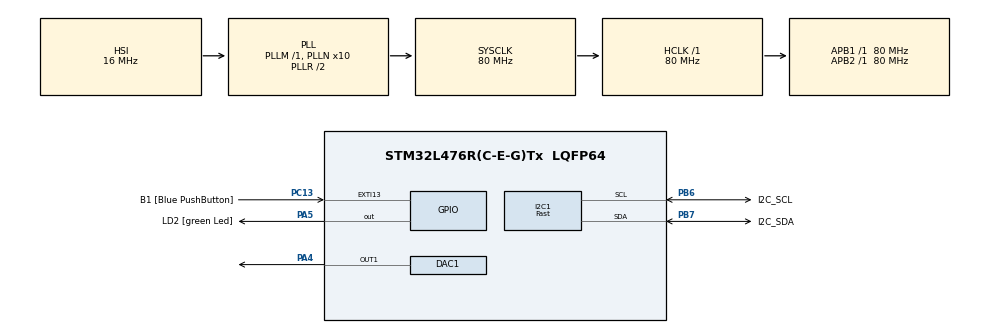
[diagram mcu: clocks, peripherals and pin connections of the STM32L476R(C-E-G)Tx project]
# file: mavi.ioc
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Dma.I2C1_TX.0.Direction=DMA_MEMORY_TO_PERIPH
Dma.I2C1_TX.0.Instance=DMA1_Channel6
Dma.I2C1_TX.0.MemDataAlignment=DMA_MDATAALIGN_BYTE
Dma.I2C1_TX.0.MemInc=DMA_MINC_ENABLE
Dma.I2C1_TX.0.Mode=DMA_NORMAL
Dma.I2C1_TX.0.PeriphDataAlignment=DMA_PDATAALIGN_BYTE
Dma.I2C1_TX.0.PeriphInc=DMA_PINC_DISABLE
Dma.I2C1_TX.0.Priority=DMA_PRIORITY_MEDIUM
Dma.Request0=I2C1_TX
I2C1.I2C_Speed_Mode=I2C_Fast
I2C1.Timing=0x00702991
Mcu.Family=STM32L4
Mcu.Name=STM32L476R(C-E-G)Tx
Mcu.Package=LQFP64
NVIC.DMA1_Channel6_IRQn=true\:0\:0\:false\:false\:true\:false\:true\:true
NVIC.I2C1_EV_IRQn=true\:0\:0\:false\:false\:true\:true\:true\:true
NVIC.PriorityGroup=NVIC_PRIORITYGROUP_4
PA13\ (JTMS-SWDIO).GPIO_Label=TMS
PA13\ (JTMS-SWDIO).Mode=Serial_Wire
PA13\ (JTMS-SWDIO).Signal=SYS_JTMS-SWDIO
PA14\ (JTCK-SWCLK).GPIO_Label=TCK
PA14\ (JTCK-SWCLK).Mode=Serial_Wire
PA14\ (JTCK-SWCLK).Signal=SYS_JTCK-SWCLK
PA2.GPIO_Label=USART_TX
PA2.GPIO_Mode=GPIO_MODE_AF_PP
PA2.GPIO_PuPd=GPIO_NOPULL
PA2.GPIO_Speed=GPIO_SPEED_FREQ_VERY_HIGH
PA2.Signal=USART2_TX
PA3.GPIO_Label=USART_RX
PA3.GPIO_Mode=GPIO_MODE_AF_PP
PA3.GPIO_PuPd=GPIO_NOPULL
PA3.GPIO_Speed=GPIO_SPEED_FREQ_VERY_HIGH
PA3.Signal=USART2_RX
PA4.Signal=COMP_DAC11_group
PA5.GPIO_Label=LD2 [green Led]
PA5.GPIO_ModeDefaultOutputPP=GPIO_MODE_OUTPUT_PP
PA5.GPIO_PuPd=GPIO_NOPULL
PA5.GPIO_Speed=GPIO_SPEED_FREQ_LOW
PA5.Signal=GPIO_Output
PB3\ (JTDO-TRACESWO).GPIO_Label=SWO
PB3\ (JTDO-TRACESWO).Signal=SYS_JTDO-SWO
PB6.GPIO_Label=I2C_SCL
PB6.Mode=I2C
PB6.Signal=I2C1_SCL
PB7.GPIO_FM7=I2C_FASTMODEPLUS_PB7
PB7.GPIO_Label=I2C_SDA
PB7.Mode=I2C
PB7.Signal=I2C1_SDA
PC13.GPIO_Label=B1 [Blue PushButton]
PC13.GPIO_ModeDefaultEXTI=GPIO_MODE_IT_FALLING
PC13.GPIO_PuPd=GPIO_NOPULL
PC13.Signal=GPXTI13
PC14-OSC32_IN\ (PC14).Mode=LSE-External-Oscillator
PC14-OSC32_IN\ (PC14).Signal=RCC_OSC32_IN
PC15-OSC32_OUT\ (PC15).Mode=LSE-External-Oscillator
PC15-OSC32_OUT\ (PC15).Signal=RCC_OSC32_OUT
PH0-OSC_IN\ (PH0).Signal=RCC_OSC_IN
PH1-OSC_OUT\ (PH1).Signal=RCC_OSC_OUT
ProjectManager.HeapSize=0x200
ProjectManager.StackSize=0x400
ProjectManager.TargetToolchain=STM32CubeIDE
RCC.ADCFreq_Value=64000000
RCC.AHBFreq_Value=80000000
RCC.APB1Freq_Value=80000000
RCC.APB1TimFreq_Value=80000000
RCC.APB2Freq_Value=80000000
RCC.APB2TimFreq_Value=80000000
RCC.CortexFreq_Value=80000000
RCC.HCLKFreq_Value=80000000
RCC.HSE_VALUE=8000000
RCC.HSI_VALUE=16000000
RCC.MSI_VALUE=4000000
RCC.PLLN=10
RCC.PLLSourceVirtual=RCC_PLLSOURCE_HSI
RCC.PREFETCH_ENABLE=1
RCC.SYSCLKFreq_VALUE=80000000
RCC.SYSCLKSource=RCC_SYSCLKSOURCE_PLLCLK
RCC.USBFreq_Value=64000000
RCC.VCOOutputFreq_Value=160000000
SH.COMP_DAC11_group.0=DAC1_OUT1,DAC_OUT1
board=NUCLEO-L476RG

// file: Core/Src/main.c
/* USER CODE BEGIN Header */
/**
  ******************************************************************************
  * @file           : main.c
  * @brief          : Main program body
  ******************************************************************************
  * @attention
  *
  * Copyright (c) 2023 STMicroelectronics.
  * All rights reserved.
  *
  * This software is licensed under terms that can be found in the LICENSE file
  * in the root directory of this software component.
  * If no LICENSE file comes with this software, it is provided AS-IS.
  *
  ******************************************************************************
  */
/* USER CODE END Header */
#include "main.h"
#include "dac.h"
#include "dma.h"
#include "i2c.h"
#include "gpio.h"

/* USER CODE BEGIN Includes */
#include "GFX.h"
#include "menu.h"
/* USER CODE END Includes */

void SystemClock_Config(void);

int main(void)
{

  /* MCU Configuration--------------------------------------------------------*/

  /* Reset of all peripherals, Initializes the Flash interface and the Systick. */
  HAL_Init();

  /* Configure the system clock */
  SystemClock_Config();

  /* Initialize all configured peripherals */
  MX_GPIO_Init();
  MX_DMA_Init();
  MX_DAC1_Init();
  MX_I2C1_Init();
  /* USER CODE BEGIN 2 */
  int value_dac;
  HAL_DAC_Start(&hdac1, DAC_CHANNEL_1);
  SSD1306_init();
  // GFX_draw_fill_rect(0, 0, 64, 32, WHITE);
  GFX_draw_char(10, 10, 'A', WHITE, BLACK, 2, 2);
  SSD1306_display_repaint();
 HAL_Delay(2000);

  menu_t menu;
  menu_init(&menu);
  display_menu_items(&menu);

  /* USER CODE END 2 */

  /* Infinite loop */
  /* USER CODE BEGIN WHILE */
  while (1)
  {
	  HAL_DAC_SetValue(&hdac1, DAC_CHANNEL_1, DAC_ALIGN_12B_R, value_dac);
	  if (value_dac<4095){
		  value_dac++;
	  }else{
		  value_dac=0;
	  }
	  HAL_Delay(10);
    /* USER CODE END WHILE */

  }
}

void SystemClock_Config(void)
{
  RCC_OscInitTypeDef RCC_OscInitStruct = {0};
  RCC_ClkInitTypeDef RCC_ClkInitStruct = {0};

  /** Configure the main internal regulator output voltage
  */
  if (HAL_PWREx_ControlVoltageScaling(PWR_REGULATOR_VOLTAGE_SCALE1) != HAL_OK)
  {
    Error_Handler();
  }

  /** Initializes the RCC Oscillators according to the specified parameters
  * in the RCC_OscInitTypeDef structure.
  */
  RCC_OscInitStruct.OscillatorType = RCC_OSCILLATORTYPE_HSI;
  RCC_OscInitStruct.HSIState = RCC_HSI_ON;
  RCC_OscInitStruct.HSICalibrationValue = RCC_HSICALIBRATION_DEFAULT;
  RCC_OscInitStruct.PLL.PLLState = RCC_PLL_ON;
  RCC_OscInitStruct.PLL.PLLSource = RCC_PLLSOURCE_HSI;
  RCC_OscInitStruct.PLL.PLLM = 1;
  RCC_OscInitStruct.PLL.PLLN = 10;
  RCC_OscInitStruct.PLL.PLLP = RCC_PLLP_DIV7;
  RCC_OscInitStruct.PLL.PLLQ = RCC_PLLQ_DIV2;
  RCC_OscInitStruct.PLL.PLLR = RCC_PLLR_DIV2;
  if (HAL_RCC_OscConfig(&RCC_OscInitStruct) != HAL_OK)
  {
    Error_Handler();
  }

  /** Initializes the CPU, AHB and APB buses clocks
  */
  RCC_ClkInitStruct.ClockType = RCC_CLOCKTYPE_HCLK|RCC_CLOCKTYPE_SYSCLK
                              |RCC_CLOCKTYPE_PCLK1|RCC_CLOCKTYPE_PCLK2;
  RCC_ClkInitStruct.SYSCLKSource = RCC_SYSCLKSOURCE_PLLCLK;
  RCC_ClkInitStruct.AHBCLKDivider = RCC_SYSCLK_DIV1;
  RCC_ClkInitStruct.APB1CLKDivider = RCC_HCLK_DIV1;
  RCC_ClkInitStruct.APB2CLKDivider = RCC_HCLK_DIV1;

  if (HAL_RCC_ClockConfig(&RCC_ClkInitStruct, FLASH_LATENCY_4) != HAL_OK)
  {
    Error_Handler();
  }
}

void Error_Handler(void)
{
  __disable_irq();
  while (1)
  {
  }
}
